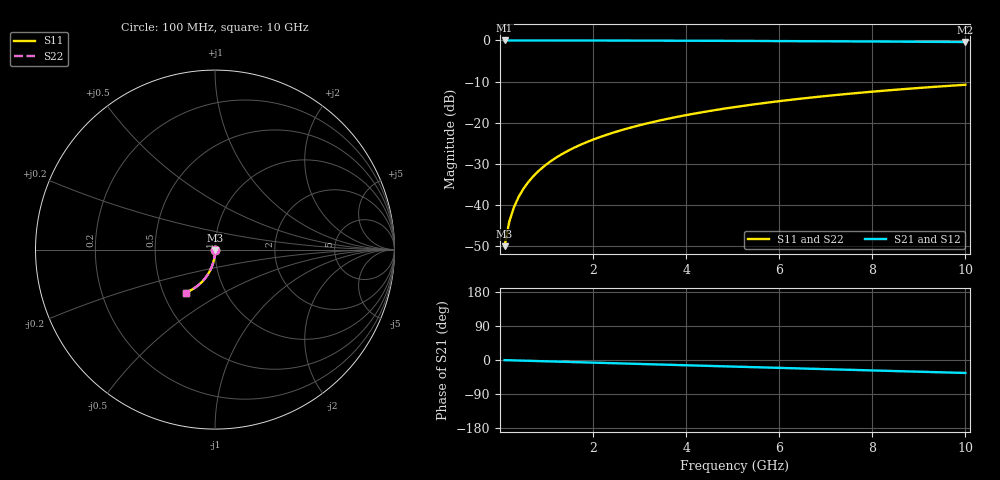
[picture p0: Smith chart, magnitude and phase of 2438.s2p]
# Hz S RI R 50.00
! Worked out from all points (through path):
!   100 points, 100 MHz to 10 GHz, reference 50 ohm
!   highest |S21| = 0.00 dB at 100 MHz (marker M1); lowest = -0.4 dB at 10 GHz (marker M2)
!   group delay of S21, straight-line fit = 9.52 ps
!   lowest |S11| = -50.0 dB at 100 MHz (marker M3), VSWR 1.01, Z = 50 - j0.312 ohm
!   |S11| at or under -10 dB: start of sweep to end of sweep
!   |S22| runs from -50.0 to -10.8 dB; largest |S21 - S12| = 0
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1e8  0.000442 -0.00311  0.9995 -0.00605  0.9995 -0.00605  0.000442 -0.00311
2e8  0.000384 -0.00623  0.9994 -0.0121  0.9994 -0.0121  0.000384 -0.00623
3e8  0.000288 -0.00934  0.9993 -0.0181  0.9993 -0.0181  0.000288 -0.00934
4e8  0.000154 -0.0125  0.9991 -0.0242  0.9991 -0.0242  0.000154 -0.0125
5e8  -1.87e-05 -0.0156  0.9989 -0.0302  0.9989 -0.0302  -1.87e-05 -0.0156
6e8  -0.000229 -0.0187  0.9987 -0.0363  0.9987 -0.0363  -0.000229 -0.0187
7e8  -0.000477 -0.0218  0.9984 -0.0423  0.9984 -0.0423  -0.000477 -0.0218
8e8  -0.000762 -0.0249  0.998 -0.0484  0.998 -0.0484  -0.000762 -0.0249
9e8  -0.00109 -0.028  0.9976 -0.0544  0.9976 -0.0544  -0.00109 -0.028
1.1e9  -0.00185 -0.0342  0.9967 -0.0665  0.9967 -0.0665  -0.00185 -0.0342
1.4e9  -0.00327 -0.0434  0.9949 -0.0845  0.9949 -0.0845  -0.00327 -0.0434
1.8e9  -0.00568 -0.0557  0.9919 -0.1085  0.9919 -0.1085  -0.00568 -0.0557
2.1e9  -0.00788 -0.0648  0.9892 -0.1265  0.9892 -0.1265  -0.00788 -0.0648
2.5e9  -0.0113 -0.0768  0.985 -0.1503  0.985 -0.1503  -0.0113 -0.0768
2.9e9  -0.0153 -0.0886  0.98 -0.1739  0.98 -0.1739  -0.0153 -0.0886
3.4e9  -0.0212 -0.1031  0.9728 -0.2031  0.9728 -0.2031  -0.0212 -0.1031
4.2e9  -0.0322 -0.1254  0.959 -0.2491  0.959 -0.2491  -0.0322 -0.1254
5.1e9  -0.0472 -0.149  0.9404 -0.2995  0.9404 -0.2995  -0.0472 -0.149
5.9e9  -0.0624 -0.1684  0.9212 -0.3428  0.9212 -0.3428  -0.0624 -0.1684
6.7e9  -0.0793 -0.1862  0.8997 -0.3846  0.8997 -0.3846  -0.0793 -0.1862
8.4e9  -0.12 -0.2178  0.8472 -0.4675  0.8472 -0.4675  -0.12 -0.2178
1e10  -0.1624 -0.2391  0.7908 -0.5377  0.7908 -0.5377  -0.1624 -0.2391
